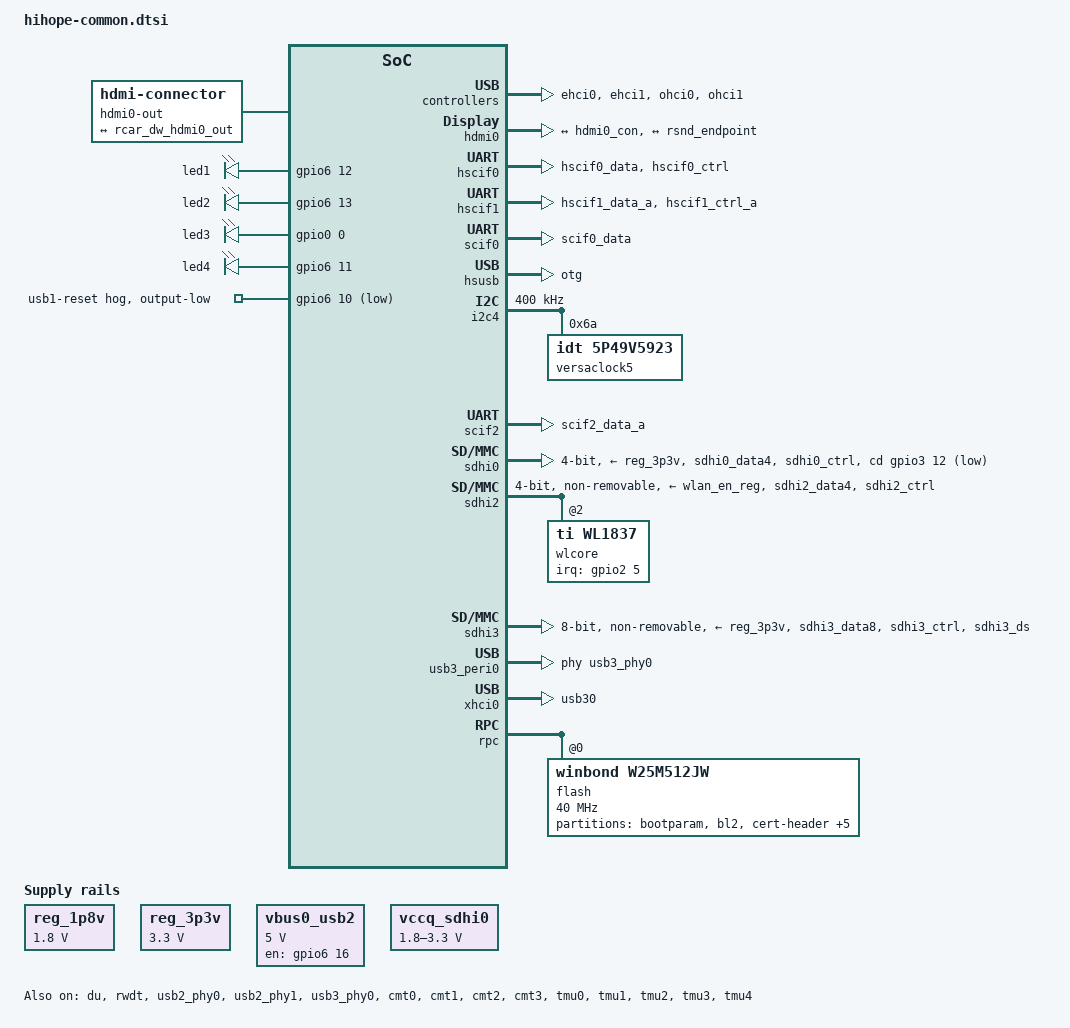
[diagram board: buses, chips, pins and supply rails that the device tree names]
// SPDX-License-Identifier: GPL-2.0
/*
 * Device Tree Source for the HiHope RZ/G2H Rev.4.0 and
 * HiHope RZ/G2[MN] Rev.[2.0/3.0/4.0] main board common parts
 *
 * Copyright (C) 2019 Renesas Electronics Corp.
 */

#include <dt-bindings/gpio/gpio.h>

/ {
	aliases {
		i2c0 = &i2c0;
		i2c1 = &i2c1;
		i2c2 = &i2c2;
		i2c3 = &i2c3;
		i2c4 = &i2c4;
		i2c5 = &i2c5;
		i2c6 = &i2c6;
		i2c7 = &iic_pmic;
		serial0 = &scif2;
		serial1 = &hscif0;
		serial2 = &hscif1;
		serial3 = &scif0;
		mmc0 = &sdhi3;
		mmc1 = &sdhi0;
		mmc2 = &sdhi2;
		spi0 = &rpc;
	};

	chosen {
		bootargs = "ignore_loglevel";
		stdout-path = "serial0:115200n8";
	};

	hdmi0-out {
		compatible = "hdmi-connector";
		type = "a";

		port {
			hdmi0_con: endpoint {
				remote-endpoint = <&rcar_dw_hdmi0_out>;
			};
		};
	};

	leds {
		compatible = "gpio-leds";

		led1 {
			gpios = <&gpio6 12 GPIO_ACTIVE_HIGH>;
		};

		led2 {
			gpios = <&gpio6 13 GPIO_ACTIVE_HIGH>;
		};

		led3 {
			gpios = <&gpio0  0 GPIO_ACTIVE_HIGH>;
		};

		led4 {
			gpios = <&gpio6 11 GPIO_ACTIVE_HIGH>;
		};
	};

	reg_1p8v: regulator-1p8v {
		compatible = "regulator-fixed";
		regulator-name = "fixed-1.8V";
		regulator-min-microvolt = <1800000>;
		regulator-max-microvolt = <1800000>;
		regulator-boot-on;
		regulator-always-on;
	};

	reg_3p3v: regulator-3p3v {
		compatible = "regulator-fixed";
		regulator-name = "fixed-3.3V";
		regulator-min-microvolt = <3300000>;
		regulator-max-microvolt = <3300000>;
		regulator-boot-on;
		regulator-always-on;
	};

	sound_card: sound {
		compatible = "audio-graph-card";

		label = "rcar-sound";

		dais = <&rsnd_port>;
	};

	vbus0_usb2: regulator-vbus0-usb2 {
		compatible = "regulator-fixed";

		regulator-name = "USB20_VBUS0";
		regulator-min-microvolt = <5000000>;
		regulator-max-microvolt = <5000000>;

		gpio = <&gpio6 16 GPIO_ACTIVE_HIGH>;
		enable-active-high;
	};

	vccq_sdhi0: regulator-vccq-sdhi0 {
		compatible = "regulator-gpio";

		regulator-name = "SDHI0 VccQ";
		regulator-min-microvolt = <1800000>;
		regulator-max-microvolt = <3300000>;

		gpios = <&gpio6 30 GPIO_ACTIVE_HIGH>;
		gpios-states = <1>;
		states = <3300000 1>, <1800000 0>;
	};

	x302_clk: x302-clock {
		compatible = "fixed-clock";
		#clock-cells = <0>;
		clock-frequency = <33000000>;
	};

	x304_clk: x304-clock {
		compatible = "fixed-clock";
		#clock-cells = <0>;
		clock-frequency = <25000000>;
	};
};

&audio_clk_a {
	clock-frequency = <22579200>;
};

&du {
	status = "okay";
};

&ehci0 {
	status = "okay";
};

&ehci1 {
	status = "okay";
};

&extal_clk {
	clock-frequency = <16666666>;
};

&extalr_clk {
	clock-frequency = <32768>;
};

&gpio6 {
	usb1-reset-hog {
		gpio-hog;
		gpios = <10 GPIO_ACTIVE_LOW>;
		output-low;
		line-name = "usb1-reset";
	};
};

&hdmi0 {
	status = "okay";

	ports {
		port@1 {
			reg = <1>;
			rcar_dw_hdmi0_out: endpoint {
				remote-endpoint = <&hdmi0_con>;
			};
		};
		port@2 {
			reg = <2>;
			dw_hdmi0_snd_in: endpoint {
				remote-endpoint = <&rsnd_endpoint>;
			};
		};
	};
};

&hscif0 {
	pinctrl-0 = <&hscif0_pins>;
	pinctrl-names = "default";

	uart-has-rtscts;
	status = "okay";
};

&hscif1 {
	pinctrl-0 = <&hscif1_pins>;
	pinctrl-names = "default";

	uart-has-rtscts;
	status = "okay";
};

&scif0 {
	pinctrl-0 = <&scif0_pins>;
	pinctrl-names = "default";

	status = "okay";
};

&hsusb {
	dr_mode = "otg";
	status = "okay";
};

&i2c4 {
	clock-frequency = <400000>;
	status = "okay";

	versaclock5: clock-generator@6a {
		compatible = "idt,5p49v5923";
		reg = <0x6a>;
		#clock-cells = <1>;
		clocks = <&x304_clk>;
		clock-names = "xin";
	};
};

&ohci0 {
	status = "okay";
};

&ohci1 {
	status = "okay";
};

&pcie_bus_clk {
	clock-frequency = <100000000>;
};

&pfc {
	pinctrl-0 = <&scif_clk_pins>;
	pinctrl-names = "default";

	hscif0_pins: hscif0 {
		groups = "hscif0_data", "hscif0_ctrl";
		function = "hscif0";
	};

	scif2_pins: scif2 {
		groups = "scif2_data_a";
		function = "scif2";
	};

	scif_clk_pins: scif_clk {
		groups = "scif_clk_a";
		function = "scif_clk";
	};

	hscif1_pins: hscif1 {
		groups = "hscif1_data_a", "hscif1_ctrl_a";
		function = "hscif1";
	};

	scif0_pins: scif0 {
		groups = "scif0_data";
		function = "scif0";
	};

	sdhi0_pins: sd0 {
		groups = "sdhi0_data4", "sdhi0_ctrl";
		function = "sdhi0";
		power-source = <3300>;
	};

	sdhi0_pins_uhs: sd0_uhs {
		groups = "sdhi0_data4", "sdhi0_ctrl";
		function = "sdhi0";
		power-source = <1800>;
	};

	sdhi2_pins: sd2 {
		groups = "sdhi2_data4", "sdhi2_ctrl";
		function = "sdhi2";
		power-source = <1800>;
	};

	sdhi3_pins: sd3 {
		groups = "sdhi3_data8", "sdhi3_ctrl", "sdhi3_ds";
		function = "sdhi3";
		power-source = <1800>;
	};

	usb0_pins: usb0 {
		groups = "usb0";
		function = "usb0";
	};

	usb1_pins: usb1 {
		mux {
			groups = "usb1";
			function = "usb1";
		};

		ovc {
			pins = "GP_6_27";
			bias-pull-up;
		};

		pwen {
			pins = "GP_6_26";
		};
	};

	usb30_pins: usb30 {
		groups = "usb30";
		function = "usb30";
	};
};

&rwdt {
	timeout-sec = <60>;
	status = "okay";
};

&scif2 {
	pinctrl-0 = <&scif2_pins>;
	pinctrl-names = "default";

	status = "okay";
};

&scif_clk {
	clock-frequency = <14745600>;
};

&sdhi0 {
	pinctrl-0 = <&sdhi0_pins>;
	pinctrl-1 = <&sdhi0_pins_uhs>;
	pinctrl-names = "default", "state_uhs";

	vmmc-supply = <&reg_3p3v>;
	vqmmc-supply = <&vccq_sdhi0>;
	cd-gpios = <&gpio3 12 GPIO_ACTIVE_LOW>;
	bus-width = <4>;
	sd-uhs-sdr50;
	sd-uhs-sdr104;
	status = "okay";
};

&sdhi2 {
	status = "okay";
	pinctrl-0 = <&sdhi2_pins>;
	pinctrl-names = "default";

	vmmc-supply = <&wlan_en_reg>;
	bus-width = <4>;
	non-removable;
	cap-power-off-card;
	keep-power-in-suspend;

	#address-cells = <1>;
	#size-cells = <0>;
	wlcore: wlcore@2 {
		compatible = "ti,wl1837";
		reg = <2>;
		interrupt-parent = <&gpio2>;
		interrupts = <5 IRQ_TYPE_LEVEL_HIGH>;
	};
};

&sdhi3 {
	pinctrl-0 = <&sdhi3_pins>;
	pinctrl-1 = <&sdhi3_pins>;
	pinctrl-names = "default", "state_uhs";

	vmmc-supply = <&reg_3p3v>;
	vqmmc-supply = <&reg_1p8v>;
	bus-width = <8>;
	mmc-hs200-1_8v;
	no-sd;
	no-sdio;
	non-removable;
	fixed-emmc-driver-type = <1>;
	status = "okay";
};

&usb_extal_clk {
	clock-frequency = <50000000>;
};

&usb2_phy0 {
	pinctrl-0 = <&usb0_pins>;
	pinctrl-names = "default";

	vbus-supply = <&vbus0_usb2>;
	status = "okay";
};

&usb2_phy1 {
	pinctrl-0 = <&usb1_pins>;
	pinctrl-names = "default";

	status = "okay";
};

&usb3_peri0 {
	phys = <&usb3_phy0>;
	phy-names = "usb";

	companion = <&xhci0>;

	status = "okay";
};

&usb3_phy0 {
	status = "okay";
};

&usb3s0_clk {
	clock-frequency = <100000000>;
};

&xhci0 {
	pinctrl-0 = <&usb30_pins>;
	pinctrl-names = "default";

	status = "okay";
};

&cmt0 {
	status = "okay";
};

&cmt1 {
	status = "okay";
};

&cmt2 {
	status = "okay";
};

&cmt3 {
	status = "okay";
};

&tmu0 {
	status = "okay";
};

&tmu1 {
	status = "okay";
};

&tmu2 {
	status = "okay";
};

&tmu3 {
	status = "okay";
};

&tmu4 {
	status = "okay";
};

&rpc {
	status = "okay";
	num-cs = <1>;

	flash@0 {
		compatible = "winbond,w25m512jw", "jedec,spi-nor";
		reg = <0>;
		spi-max-frequency = <40000000>;
		spi-tx-bus-width = <1>;
		spi-rx-bus-width = <1>;

		partitions {
			compatible = "fixed-partitions";
			#address-cells = <1>;
			#size-cells = <1>;

			partition@0 {
				label = "bootparam";
				reg = <0x000000 0x040000>;
				read-only;
			};

			partition@40000 {
				label = "bl2";
				reg = <0x040000 0x140000>;
				read-only;
			};

			partition@180000 {
				label = "cert-header";
				reg = <0x180000 0x040000>;
				read-only;
			};

			partition@1c0000 {
				label = "bl31";
				reg = <0x1c0000 0x040000>;
				read-only;
			};

			partition@200000 {
				label = "tee";
				reg = <0x200000 0x100000>;
				read-only;
			};

			partition@300000 {
				label = "u-boot";
				reg = <0x300000 0x200000>;
				read-only;
			};

			partition@3f0000 {
				label = "uboot-env";
				reg = <0x3f0000 0x010000>;
			};

			partition@400000 {
				label = "user";
				reg = <0x400000 0x1c00000>;
			};
		};
	};
};
